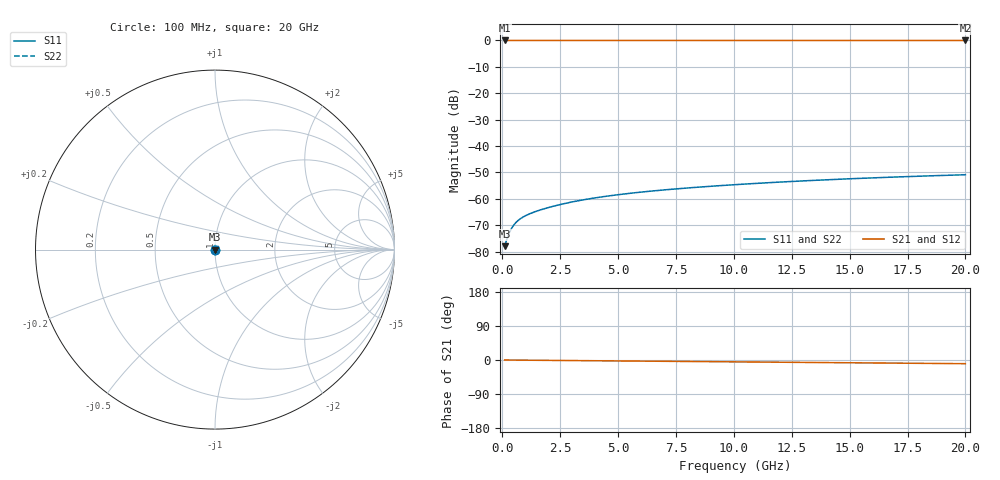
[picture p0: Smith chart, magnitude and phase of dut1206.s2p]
! Touchstone file exported from HFSS 2026.1.0
!  File:  C:/ffzhzh/LocalFiles/Ansys_Project_Files/temp_train_TSV_1206_1783192766_55132.aedt
!  Generated:  03:20:59 AM Jul  5, 2026
!  Design:  TSV
!  Project:  temp_train_TSV_1206_1783192766_55132
! Variables:
!  h_bsmrdl = 2um
!  h_ox = 20um
!  h_rdl = 5um
!  h_sub = 98.94um
!  h_tmrdl = 5um
!  h_tsv = 98.94um
!  h_via = 3um
!  l_bsmrdl = 300um
!  l_sub = 424.34um
!  l_tmrdl = 200um
!  m_sub = 200um
!  pitch = 49.89um
!  r_tsv = 12.17um
!  s_tmrdl = 10um
!  w_bsmrdl = 18um
!  w_sub = 500um
!  w_tmrdl = 12um
!  x_tsv_center1 = 206um
!  x_tsv_center2 = 524um
!  x_tsv_center3 = 736um
!  x_tsv_center4 = 1054um
!  x_tsv_center5 = 1266um
!  x_tsv_center6 = 1584um
# GHz S MA R 50.000000
! Terminal data exported
! Port[1] = TSV1_1_T1
! Port[2] = TSV1_1_T2
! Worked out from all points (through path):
!   200 points, 100 MHz to 20 GHz, reference 50 ohm
!   highest |S21| = 0.00 dB at 100 MHz (marker M1); lowest = 0.0 dB at 20 GHz (marker M2)
!   group delay of S21, straight-line fit = 1.35 ps
!   lowest |S11| = -77.9 dB at 100 MHz (marker M3), VSWR 1.00, Z = 50 + j0.00625 ohm
!   |S11| at or under -10 dB: start of sweep to end of sweep
!   |S22| runs from -77.9 to -50.9 dB; largest |S21 - S12| = 2.3e-15
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0.1  0.0001273 29.4  0.9999 -0.1  0.9999 -0.1  0.0001273 29.4
! Gamma 0 0 0 0
! Port Impedance 50 0 50 0
0.2  0.000175 43.5  0.9999 -0.1  0.9999 -0.1  0.000175 43.5
0.3  0.0002277 48.8  0.9999 -0.2  0.9999 -0.2  0.0002277 48.8
0.4  0.0002775 50.5  0.9998 -0.2  0.9998 -0.2  0.0002775 50.5
0.5  0.0003221 50.7  0.9998 -0.3  0.9998 -0.3  0.0003221 50.7
0.6  0.0003613 50.4  0.9998 -0.3  0.9998 -0.3  0.0003613 50.4
0.7  0.0003959 50.1  0.9997 -0.4  0.9997 -0.4  0.0003959 50.1
0.9  0.0004544 49.5  0.9997 -0.5  0.9997 -0.5  0.0004543 49.5
1.1  0.0005037 49.4  0.9997 -0.5  0.9997 -0.5  0.0005036 49.4
1.3  0.0005479 49.6  0.9996 -0.6  0.9996 -0.6  0.0005479 49.6
1.9  0.0006682 50.9  0.9996 -0.9  0.9996 -0.9  0.0006682 50.9
2.7  0.0008186 52.6  0.9995 -1.3  0.9995 -1.3  0.0008186 52.6
3.5  0.0009605 53.5  0.9994 -1.7  0.9994 -1.7  0.0009605 53.5
4.2  0.001077 53.9  0.9994 -2.1  0.9994 -2.1  0.001077 53.9
5  0.001201 54.2  0.9993 -2.5  0.9993 -2.5  0.001201 54.2
5.8  0.001318 54.3  0.9993 -2.8  0.9993 -2.8  0.001318 54.3
6.8  0.001455 54.5  0.9992 -3.3  0.9992 -3.3  0.001455 54.5
8.3  0.001648 54.6  0.9991 -4.1  0.9991 -4.1  0.001648 54.6
10.1  0.001866 54.7  0.9991 -4.9  0.9991 -4.9  0.001866 54.6
13.4  0.002236 54.3  0.9989 -6.5  0.9989 -6.5  0.002237 54.3
16.7  0.00257 53.6  0.9988 -8.1  0.9988 -8.1  0.002571 53.6
20  0.002865 52.6  0.9987 -9.7  0.9987 -9.7  0.002867 52.6
